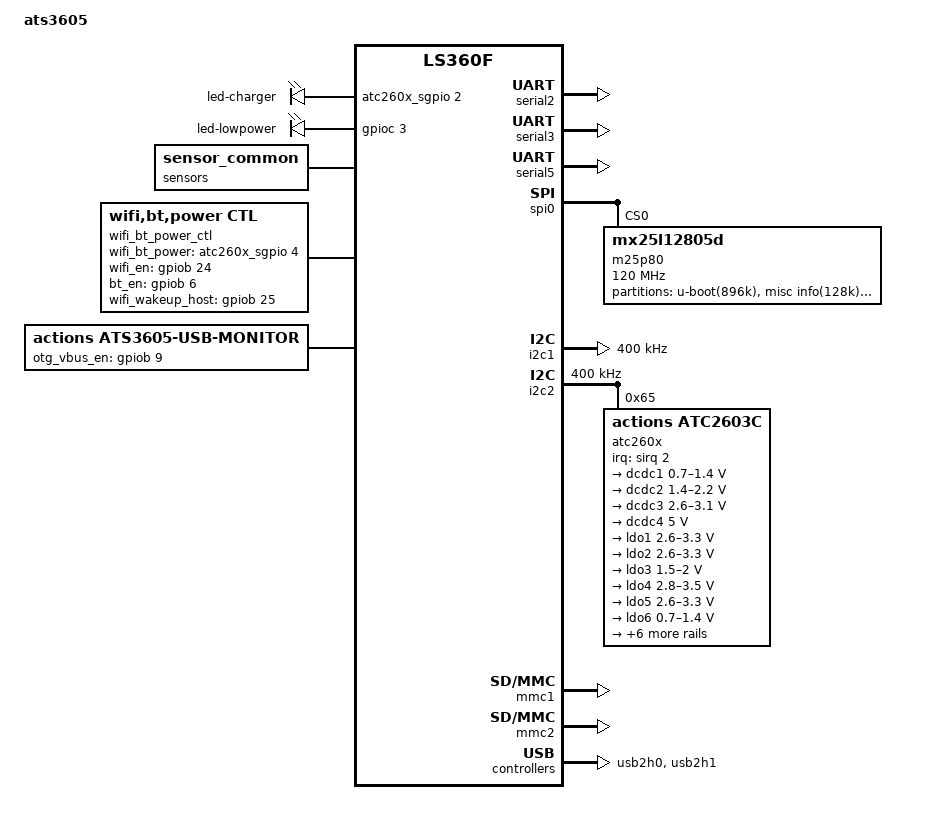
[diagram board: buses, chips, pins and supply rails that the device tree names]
/*
 * Copyright (C) 2014 Actions Semi. Inc
 *
 * This program is free software; you can redistribute it and/or
 * modify it under the terms of the GNU General Public License as
 * published by the Free Software Foundation version 2.
 *
 * This program is distributed "as is" WITHOUT ANY WARRANTY of any
 * kind, whether express or implied; without even the implied warranty
 * of MERCHANTABILITY or FITNESS FOR A PARTICULAR PURPOSE.  See the
 * GNU General Public License for more details.
 */
/dts-v1/;

 /* reserve 24MB for ion(pmem) */
/memreserve/ 0x2800000 0x1800000;

#include "ats3605.dtsi"

/ {
	model = "ats3605";
	compatible = "actions,ats3605";

	chosen {
		bootargs="console=ttyS2,115200 earlyprintk no_console_suspend loglevel=4 clk_ignore_unused";
	};

	cpus {
		CPU0: cpu@0 {
			cpuvdd-supply = <&dcdc1>;
		};
	};
	ion_config {
		compatible = "actions,ats3605-ion";
		actions,ion_heap_pmem = <0x2800000 0x1800000>;
	};
	serial2: uart@b0164000 {
		status = "okay";
		pinctrl-names = "default";
	};
	//For BT
	serial3: uart@b0166000 {
		dmas = <&dma DMA_DRQ_UART3>, <&dma DMA_DRQ_UART3>;
		dma-names = "tx", "rx";
		status = "okay";
		pinctrl-names = "default";
		pinctrl-0 = <&serial3_state_default>;
	};

	serial5: uart@b016a000 {
		status = "okay";
		//pinctrl-names = "default";
		//pinctrl-0 = <&serial5_state_default>;
	};

	leds{
		compatible = "gpio-leds";
		status = "okay";
		led_charger {
			label = "led-charger";
			gpios = <&atc260x_sgpio 2 0>;
			linux,default-trigger = "power-on";
		};
		led_lowpower {
			label = "led-lowpower";
			gpios = <&gpioc 3 0>;
		};
	};
	spi0: spi@b0300000 {
		status = "okay";
		pinctrl-names = "default";
		pinctrl-0 = <&spi0_state_default>;
	    	dmas = <&dma DMA_DRQ_SPI0>, <&dma DMA_DRQ_SPI0>;
	    	dma-names = "tx", "rx";
 		m25p80@0 {
			compatible = "mx25l12805d";
            m25p,fast-read;
			reg = <0>;
			spi-max-frequency = <120000000>;
            spi-tx-bus-width = <1>;
            spi-rx-bus-width = <2>;
            partition@0 {
            	reg = <0x0 0xe0000>;
            	label = "u-boot(896k)";
            };

            partition@e0000 {
            	reg = <0xe0000 0x20000>;
            	label = "misc info(128k)";
            };

            partition@100000 {
            	reg = <0x100000 0xf00000>;
            	label = "others(15360k)";
            };
		};
    };

	i2c0: i2c@b0180000{
		i2c_num = <0>;
		clock-frequency = <400000>;
		status = "disabled";
    	};

	i2c1: i2c@b0184000 {
		i2c_num = <0>;
		clock-frequency = <400000>;
		status = "okay";
    	};

	i2c2: i2c@b0188000{
		i2c_num = <0>;
		clock-frequency = <400000>;
		status = "okay";
		/* atc2603c (5307) */
		atc260x: atc2603c@65 {
			compatible = "actions,atc2603c";
			reg = <0x65>;
			interrupt-parent = <&sirq>;
			interrupts =< 2 0x4 >;
			interrupt-controller;
			#interrupt-cells = <1>;

			losc_32k_output_enable = <1>;    /* enable/disable output 32.768K clock via I2S_MCLK1 pin */
			losc_32k_output_voltage = <18>;  /* select voltage scale of the 32.768K clock output, 18:1.8v, 31:3.1v */
			board_flag = <1>;
			pm {
				compatible = "actions,atc2603c-pm";
			};

			onoff {
				#define KEY_POWER		116	/* SC System Power Down */
				compatible = "actions,atc2603c-onoff";
				gpios = <&gpiob 3 1>;/*hardkey  on,   0: high(on), 1: low(on)*/
				keycode = <KEY_POWER>; /*KEY VAL*/
				poweroff = <0>; /*hardkey :1 poweroff, 0 poweron */
			};

			rtc{
				compatible = "actions,atc2603c-rtc";
			};

			atc260x_gpio: atc260x_gpio {
				compatible = "actions,atc2603c-gpio";
				gpio-controller;
				#gpio-cells = <2>;
			};

			atc260x_sgpio: atc260x_sgpio {
				compatible = "actions,atc2603c-sgpio";
				gpio-controller;
				#gpio-cells = <2>;
				interrupt-controller;
				#interrupt-cells = <2>;
			};

			atc260x-adckeypad{
#define KEY_MODE		0x175
#define KEY_LEFT		105
#define KEY_RIGHT		106
#define KEY_ESC			1
#define KEY_MENU		139
#define KEY_DOWN		108
#define KEY_UP			103
#define KEY_VOLUMEDOWN	114
#define KEY_VOLUMEUP	115
#define KEY_PLAY		207
				keymapsize = <10>;                   /* number of ADC key */
				filter_dep = <3>;                   /* depth of the moving average filter (length of filter queue) */
				variance = <10>;                    /* filter will not output until the difference between every two ADC samples in the filter queue goes below this value */
				poll_interval =  <10>;              /* sample period, in ms */
				left_adc_val =  <0 51 168 267 342 459 576 699 801 901>;     /* for key code translator, each value defines a lower bound of ADC value of a key */
				right_adc_val = <50 167 266 341 458 575 698 800 900 970>;   /* for key code translator, each value defines a upper bound of ADC value of a key */
				key_val = <KEY_PLAY KEY_VOLUMEUP KEY_VOLUMEDOWN KEY_UP KEY_DOWN KEY_MENU KEY_ESC KEY_RIGHT KEY_LEFT KEY_MODE>; /* for key code translator, each value defines the key_code of a key */
				adc_channel_name = "REMCON";          /* the ADC channel used for sampling, valid names are REMCON AUX0 AUX1 AUX2 (AUX3) */
				compatible = "actions,atc2603c-adckeypad";
				status = "okay";                /* enable/disable ADC key function (okay or disabled) */
			};

			/*the cfg params must be read	in the first installed ko,
			 now snd-soc-atv5302.ko is first installed.
			 1, earphone_detect_level use the third value of earphone_gpios
			 2, commonly, we shouldn't change the value of speaker_gain and earphone_gain*/
			atc260x-audio{
				compatible = "actions,atc2603c-audio";
				status = "okay";
				pinctrl-names = "default";
				pinctrl-0 = <&i2s0_state_default>;
				//earphone_detect_gpios = <&gpio 21 0>; /*0: high, 1: low GPIOA21 0*/
				speaker_en_gpios = <&gpiob 20 0>; /*GPIOB(0) 0: high, 1: low*/
				//speaker_mode_gpios = <&gpiob 1 1>; /*GPIOB(1) 0: high, 1: low*/
				earphone_output_mode = <0>; /*0: direct mode, 1: undirect mode*/
				mic_num = <1>; /*just suport 1, 2*/
				mic0_gain = < 0x4 0xd >; /*<Lchannel,Rchannel> [0x0~0xF]*/
				speaker_gain = < 0xbe 0xbe >; /*<Lchannel,Rchannel>[0x00~0xbebe]*/
				earphone_gain = < 0xbe 0xbe >; /*<Lchannel,Rchannel>[0x00~0xbebe]*/
				mic_mode = <2>; /* 1: differential,  2: single end*/
				speaker_volume = < 0x28 0x28 >; /*volume [0x00~0x28]*/
				earphone_volume = < 0x28 0x28 >; /*volume [0x00~0x28]*/
				earphone_detect_method = <2>; /*0:gpio, 1:irq, 2:adc*/
				adc_plugin_threshold = <741>; /*adc earphone detect plugin threshold value*/
				adc_level = <0>; /*adc plugin level, 1:high vol when plugin; 0:low vol when plug in*/
				adc_num = <0>;/*use 2603C_PMU_AUXADC0*/
			};

			atc260x-hwmon{
				compatible = "actions,atc2603c-hwmon";
			};
			atc260x-charger{
				compatible = "actions,atc2603c-charger";
				rsense = <20>;/*unit:mohm*/
				bat_type = <1>;/*0:4.18v; 1:4.2v; 2:4.3v; 3:4.35v*/
				bl_on_current_usb_pc = <200>;
				bl_off_current_usb_pc = <400>;
				bl_on_current_usb_adp = <400>;
				bl_on_current_usb_adp_high = <1000>;
				bl_off_current_usb_adp = <1400>;
				bl_on_current_wall_adp = <400>;
				bl_off_current_wall_adp = <1400>;
				support_adaptor_type = <2>; /*1: DCIN  2: USB  3:DCIN+USB*/
				ext_charger = <0>;
				usb_adapter_as_ac = <1>;/*0:usb ada keep itself; 1:usb ada used as DCIN when usb plug and batv<3.3v during minicharge*/
				usb_pc_ctl_mode = <1>; /*0:disable vbus ctl;1:current limited;2:voltage limited*/
				//wall_switch = <&gpioa 25 0>;/*GPIOA25,0: high, 1: low*/
			};

			atc2603c-battery{
				compatible = "actions,atc2603c-battery";
				capacity = < 2000 >;                              /*mAh, the full capacity of battery used*/
				taper_voltage = < 4180 >;                         /*mV,the one close to the full capacity*/
				taper_current = <300>;
				min_over_chg_protect_voltage = < 4275 >;				/*mA,the one close to the full capacity*/
				terminal_voltage = <3400>;                        /*mV,the lowest voltage of battery permitted*/
				suspend_current = < 17000 >;                       /* uA,the current of suspend*/
				shutdown_current = < 50 >;                        /* uA,the current of shutdown*/
				print_switch = <0>;                               /*0:open the switch of printing information 1:the opposite*/
				log_switch = <0>;                                 /*0:open the switch of recording charging log 1:the opposite*/
				support_battery_temperature = <0>;				/*0:not support 1:support*/
				ocv_soc_00 = <3477 3534 3591 3624 3637 3649 3661 3667 3673 3677>;    	 /* capacity:from 1% to 10%*/
				ocv_soc_10 = <3682 3685 3690 3693 3700 3706 3712 3716 3722 3728 >;	 /* capacity:from 11% to 20%*/
				ocv_soc_20 = <3732 3736 3739 3744 3747 3751 3755 3758 3761 3765>;	 /* capacity:from 21% to 30%*/
				ocv_soc_30 = <3768 3771 3775 3777 3782 3784 3788 3791 3793 3794 >;	 /* capacity:from 31% to 40%*/
				ocv_soc_40 = <3800 3801 3804 3807 3812 3815 3819 3823 3825 3830>;	 /* capacity:from 41% to 50%*/
				ocv_soc_50 = <3834 3838 3841 3845 3850 3854 3858 3864 3870 3874>;	 /* capacity:from 51% to 60%*/
				ocv_soc_60 = <3880 3889 3895 3902 3908 3916 3926 3933 3940 3947>;	 /* capacity:from 61% to 70%*/
				ocv_soc_70 = <3954 3961 3968 3972 3979 3985 3992 3997 4005 4012>;	 /* capacity:from 71% to 80%*/
				ocv_soc_80 = <4019 4028 4036 4046 4054 4061 4068 4075 4084 4090>;	 /* capacity:from 81% to 90%*/
				ocv_soc_90 = <4099 4107 4115 4126 4132 4141 4152 4160 4170 4180>;	 /* capacity:from 91% to 100%*/
			};

			dcdc1: dcdc1 {
				compatible = "actions,atc2603c-dcdc1","actions,atc2603c-dcdc";
				regulator-name = "dcdc1";
				regulator-min-microvolt = <700000>;
				regulator-max-microvolt = <1400000>;
				regulator-always-on;
			};

			dcdc2: dcdc2 {
				compatible = "actions,atc2603c-dcdc2","actions,atc2603c-dcdc";
				regulator-name = "dcdc2";
				regulator-min-microvolt = <1400000>;
				regulator-max-microvolt = <2200000>;
				regulator-always-on;
			};

			dcdc3: dcdc3 {
				compatible = "actions,atc2603c-dcdc3","actions,atc2603c-dcdc";
				regulator-name = "dcdc3";
				regulator-min-microvolt = <2600000>;
				regulator-max-microvolt = <3100000>;
			};

			dcdc4: dcdc4 {
				compatible = "actions,atc2603c-dcdc4","actions,atc2603c-dcdc";
				regulator-name = "dcdc4";
				regulator-min-microvolt = <5000000>;
				regulator-max-microvolt = <5000000>;
			};

			dcdc5: dcdc5 {
				status = "disabled";
			};

			ldo1: ldo1{
				compatible = "actions,atc2603c-ldo1","actions,atc2603c-ldo";
				regulator-name = "ldo1";
				regulator-min-microvolt  = <2600000>;
				regulator-max-microvolt = <3300000>;
				regulator-always-on;
			};

			ldo2: ldo2{
				compatible = "actions,atc2603c-ldo2","actions,atc2603c-ldo";
				regulator-name = "ldo2";
				regulator-min-microvolt  = <2600000>;
				regulator-max-microvolt = <3300000>;
			};

			ldo3: ldo3{
				compatible = "actions,atc2603c-ldo3","actions,atc2603c-ldo";
				regulator-name = "ldo3";
				regulator-min-microvolt  = <1500000>;
				regulator-max-microvolt = <2000000>;
			};

			ldo4: ldo4{
				compatible = "actions,atc2603c-ldo4","actions,atc2603c-ldo";
				regulator-name = "ldo4";
				regulator-min-microvolt  = <2800000>;
				regulator-max-microvolt = <3500000>;
			};

			ldo5: ldo5{
				compatible = "actions,atc2603c-ldo5","actions,atc2603c-ldo";
				regulator-name = "ldo5";
				regulator-min-microvolt  = <2600000>;
				regulator-max-microvolt = <3300000>;
			};

			ldo6: ldo6{
				compatible = "actions,atc2603c-ldo6","actions,atc2603c-ldo";
				regulator-name = "ldo6";
				regulator-min-microvolt  = <700000>;
				regulator-max-microvolt = <1400000>;
			};

			ldo7: ldo7{
				compatible = "actions,atc2603c-ldo7","actions,atc2603c-ldo";
				regulator-name = "ldo7";
				regulator-min-microvolt  = <1500000>;
				regulator-max-microvolt = <2000000>;
				regulator-always-on;
			};

			ldo8: ldo8{
				compatible = "actions,atc2603c-ldo8","actions,atc2603c-ldo";
				regulator-name = "ldo8";
				regulator-min-microvolt  = <2300000>;
				regulator-max-microvolt = <3300000>;
				regulator-boot-on;
			};

			ldo9: ldo9{
				compatible = "actions,atc2603c-ldo9","actions,atc2603c-ldo";
				regulator-name = "ldo9";
				regulator-min-microvolt  = <1000000>;
				regulator-max-microvolt = <1500000>;
			};

			ldo10: ldo10{
				compatible = "actions,atc2603c-ldo10","actions,atc2603c-ldo";
				regulator-name = "ldo10";
				regulator-min-microvolt  = <2300000>;
				regulator-max-microvolt = <3300000>;
			};

			ldo11: ldo11{
				compatible = "actions,atc2603c-ldo11","actions,atc2603c-ldo";
				regulator-name = "ldo11";
				regulator-min-microvolt  = <2600000>;
				regulator-max-microvolt = <3300000>;
			};

			switch1:switch1{
				compatible = "actions,atc2603c-switch1","actions,atc2603c-switch";
				regulator-name = "switch1";
				regulator-min-microvolt  = <3000000>;
				regulator-max-microvolt = <3300000>;
			};

			switch2:switch2{
				status = "disabled";
			};
		};
	};

	isp0: isp@0xb0210000 {
        mirror_flip = <3>;  /* bit-0:rear camera; bit-1:front camera; 0: no flip,no mirror; 1: no flip,horizontal mirror; 2:vertical flip,no mirror; 3: vertical flip,horizontal mirror */
        
        avdd-src = "regulator";  /* only: "gpio", "regulator" */
        avdd-regulator = "ldo1"; /* only when vbus-src is "regulator" */
        avdd-regulator-scope = <2800000 2810000>;  /* uV */
        dvdd-regulator = "ldo7";
        dvdd-regulator-scope = <1800000 1810000>;  /* uV */
        
        board_type = "evb";/* "ces" or "evb"*/
        sensors = "rear"; /* "dual", "front" or "rear" */
        pwdn-rear-gpios = <&gpiob 21 1>; /* GPIOB21 */
        reset-gpios = <&gpiob 28 1>; /*GPIOB28*/
        pinctrl-names = "default";
        pinctrl-0 = <&isp0_state0_dvp>;
        
        status = "okay"; /* create platform-device */
	};

	sensors: isp-sensor {
		compatible = "sensor_common";
		i2c_adapter = <&i2c1>; /* 0-3 begin from enabled ones */

		status = "okay";
	};

	mmc0: mmc@b0348000 {
		card-type = "emmc";
		status = "disabled";
	};

	mmc1: mmc@b0344000 {
		card-type = "wifi";
		pinctrl-names = "pinctrl_mmc1";
		pinctrl-0 = <&mm1_pinctrl_state_lcd0>;
		status = "okay";
	};

	mmc2: mmc@b0340000 {
		card-type = "memory";  		/* only: "memory", "wifi", or "emmc" */
		card-detect-mode = "command";  /* only:"gpio", or "command" */
		sd_vcc = "switch1";
		status = "okay";
	};

	wifi_bt_power_ctl {
		compatible = "wifi,bt,power,ctl";
		wifi_bt_power_gpios = <&atc260x_sgpio 4 0>; /* SGPIO4, high active */
		reg_wl_bt_vddio = "ldo5";
		wifi_bt_vddio_vol_range = <3300000 3310000>; /* set ldo voltage as 3.3v*/
		wifi_en_gpios= <&gpiob 24 0>;				/* GPIOB24, high active */
		bt_en_gpios = <&gpiob 6 0>; 				/* GPIOB6, high active */
		wifi_wakeup_host_gpios = <&gpiob 25 0>; 	/* GPIOB25 */
	};

	monitor {
		compatible = "actions,ats3605-usb-monitor";
		//adaptor_type = <>;	/* 1: DCIN; 2: USB; 3: both; default: both */
		detect_type = <1>; /* config what to detect, 0:DISABLE ; 1:DEVICE_ONLY; 2:HOST_ONLY; 3: HOST_AND_DEVICE */
		idpin_type   = <3>; /* 0: ic idpin; 1: soft idpin; 2: gpio idpin; 3: adc */
		vbus_type   = <20>; /* 0: ic vbus; 1: gpio detect; 2: gpio ctrl; 3: gpio detect & ctrl; 10: soft vbus; 20: DC5V */
		//idpin_gpio = <&gpiob 31 1>;   /* 1: low-active; 0: high-active */
		//vbus_det_gpio = <>;	/* detect gpio */
		//vbus_ctl_gpio = <>;	/* control gpio */
		otg_vbus_en = <&gpiob 9 0>;
		idpin_adc_threshold_min = <0>;
		idpin_adc_threshold_max = <500>;
		idpin_adc_threshold_min_2 = <900>;
		idpin_adc_threshold_max_2 = <1000>;
		status = "okay";
	};

	owl_usb_config {
		compatible = "actions,owl-usb-config";
		usb_serialnumber_config = <2>;		/* 0: fixed ascii; 1: fixed unicode; 2: non-fixed unicode */
		status = "okay";
	};

	usb2h0: usb@b0240000 {
		//power_en_gpio = <&gpiod 20 0>;	/* legacy configs, add for compatability */
		//wifi_power_en_gpio = <&gpiod 20 0>;
		//wifi_gpio = <&gpiod 20 0>;
		status = "okay";
	};

	usb2h1: usb@b0250000 {
		//power_en_gpio = <&gpiod 20 0>;
		//wifi_power_en_gpio = <&gpiod 20 0>;
		//wifi_gpio = <&gpiod 20 0>;
		status = "okay";
	};

	aotg_usb2_config {
		compatible = "actions,ats3605-usb2-config";
		ports_config = <0>;		/* aotg usb2 enable: 0: both enable, 1: enable usb2h0, 2: enable ush2h1 */
		//aotg0_host_plug_detect = <1>;	/* aotg0(usb2h0) uhost monitor: 0: disable, 1: enable */
		aotg1_host_plug_detect = <1>;	/* aotg1(usb2h1) uhost monitor: 0: disable, 1: enable */
		status = "okay";
	};
};
